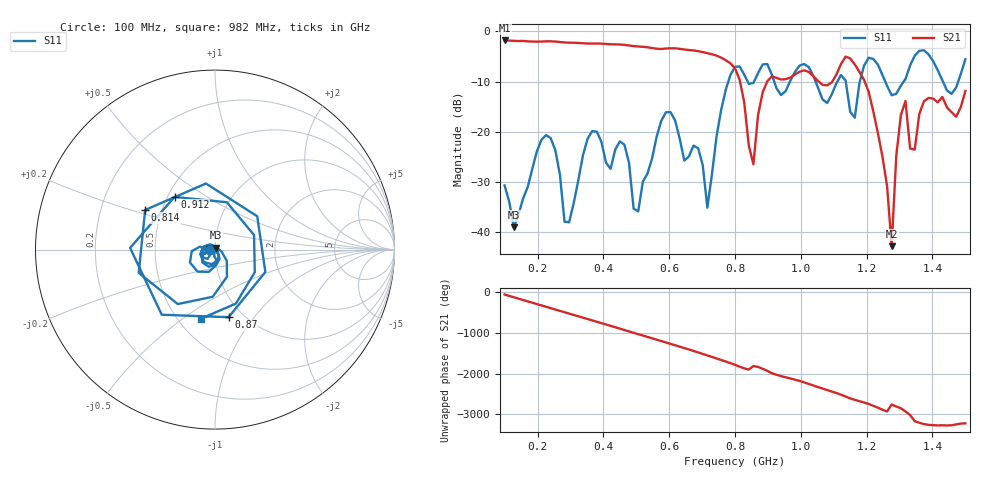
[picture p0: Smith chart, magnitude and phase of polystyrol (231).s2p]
! NanoVNA-App
! Date: 2025-09-25 15:31:41
! Start: 100MHz Stop: 1,5GHz Points: 101
! S-Parameter data: F S11 S21 S12 S22
# Hz S RI R 50
!  Frequency  S11_Real  S11_Imag  S21_Real  S21_Imag  S12_Real  S12_Imag  S22_Real  S22_Imag
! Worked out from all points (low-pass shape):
!   101 points, 100 MHz to 1.5 GHz, reference 50 ohm
!   highest |S21| = -1.80 dB at 100 MHz (marker M1); lowest = -42.8 dB at 1.276 GHz (marker M2)
!   |S21| within 3 dB of the highest: start of sweep to 743.3 MHz
!   lowest |S11| = -39.1 dB at 128 MHz (marker M3), VSWR 1.02, Z = 50.3 + j1.06 ohm
!   |S11| at or under -10 dB: start of sweep to 779.7 MHz; 1.045 GHz to 1.111 GHz (66.02 MHz wide, 6.12 % of centre); 1.257 GHz to 1.313 GHz (56.04 MHz wide, 4.36 % of centre) (the widest 3 of 7)
!   S12 and S22 are empty: the file has one direction only
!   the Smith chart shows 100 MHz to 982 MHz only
!   S11 on the Smith chart (normalised r, x): 100 MHz: 0.94, -0.01; 814 MHz: 0.40, +0.22; 870 MHz: 0.86, -0.76; 912 MHz: 0.54, +0.37; 982 MHz: 0.64, -0.59
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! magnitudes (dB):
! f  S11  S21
! 100 MHz  -30.7  -1.8
! 128 MHz  -39.1  -1.9
! 212 MHz  -21.6  -2.0
! 282 MHz  -37.9  -2.2
! 338 MHz  -24.7  -2.4
! 464 MHz  -22.6  -2.7
! 506 MHz  -35.9  -3.0
! 576 MHz  -17.8  -3.5
! 716 MHz  -35.1  -4.3
! 800 MHz  -7.0  -7.4
! 814 MHz  -7.0  -9.6
! 856 MHz  -10.3  -26.5
! 870 MHz  -8.3  -16.7
! 912 MHz  -8.6  -9.0
! 982 MHz  -8.1  -8.6
! 1.038 GHz  -8.9  -8.9
! 1.164 GHz  -17.2  -6.6
! 1.192 GHz  -6.8  -9.6
! 1.276 GHz  -12.7  -42.8
! 1.318 GHz  -9.5  -13.9
! 1.346 GHz  -4.8  -23.6
! 1.5 GHz  -5.5  -11.9
